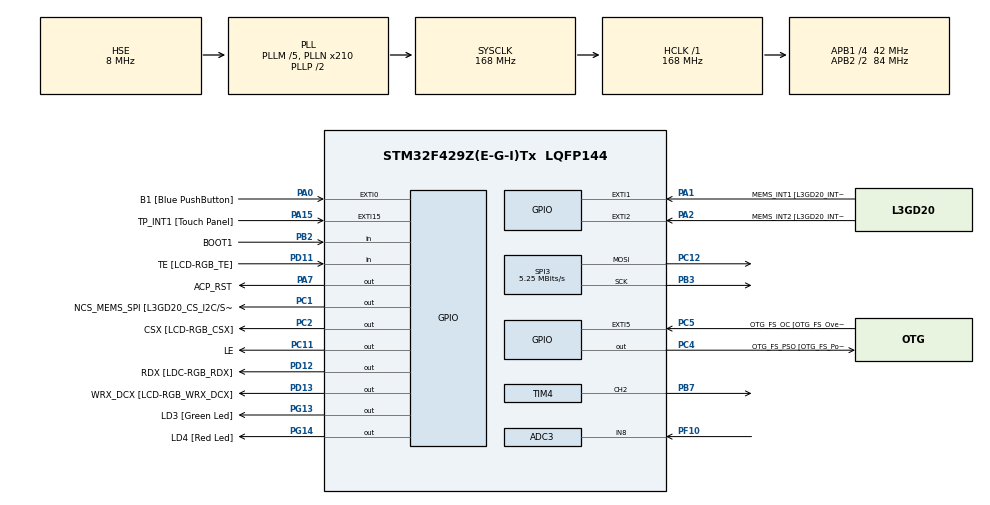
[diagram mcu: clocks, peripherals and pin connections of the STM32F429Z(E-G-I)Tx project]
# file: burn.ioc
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ADC3.Channel-16\#ChannelRegularConversion=ADC_CHANNEL_8
ADC3.ClockPrescaler=ADC_CLOCKPRESCALER_PCLK_DIV8
ADC3.ContinuousConvMode=ENABLE
ADC3.DMAContinuousRequests=ENABLE
ADC3.NbrOfConversionFlag=1
Dma.ADC3.0.Channel=DMA_CHANNEL_2
Dma.ADC3.0.Direction=DMA_PERIPH_TO_MEMORY
Dma.ADC3.0.FIFOMode=DMA_FIFOMODE_ENABLE
Dma.ADC3.0.FIFOThreshold=DMA_FIFO_THRESHOLD_HALFFULL
Dma.ADC3.0.Instance=DMA2_Stream0
Dma.ADC3.0.MemBurst=DMA_MBURST_SINGLE
Dma.ADC3.0.MemDataAlignment=DMA_MDATAALIGN_WORD
Dma.ADC3.0.MemInc=DMA_MINC_ENABLE
Dma.ADC3.0.Mode=DMA_CIRCULAR
Dma.ADC3.0.PeriphBurst=DMA_PBURST_SINGLE
Dma.ADC3.0.PeriphDataAlignment=DMA_PDATAALIGN_WORD
Dma.ADC3.0.PeriphInc=DMA_PINC_DISABLE
Dma.ADC3.0.Priority=DMA_PRIORITY_LOW
Dma.Request0=ADC3
Mcu.Family=STM32F4
Mcu.Name=STM32F429Z(E-G-I)Tx
Mcu.Package=LQFP144
NVIC.DMA2_Stream0_IRQn=true\:0\:0\:false
NVIC.PriorityGroup=NVIC_PRIORITYGROUP_0
PA0/WKUP.GPIO_Label=B1 [Blue PushButton]
PA0/WKUP.GPIO_ModeDefaultEXTI=GPIO_MODE_EVT_RISING
PA0/WKUP.GPIO_PuPd=GPIO_NOPULL
PA0/WKUP.Signal=GPXTI0
PA1.GPIO_Label=MEMS_INT1 [L3GD20_INT1]
PA1.GPIO_ModeDefaultEXTI=GPIO_MODE_EVT_RISING
PA1.GPIO_PuPd=GPIO_NOPULL
PA1.Signal=GPXTI1
PA11.GPIO_Label=R4
PA11.GPIO_Mode=GPIO_MODE_AF_PP
PA11.GPIO_PuPd=GPIO_NOPULL
PA11.GPIO_Speed=GPIO_SPEED_LOW
PA11.Signal=LTDC_R4
PA12.GPIO_Label=R5
PA12.GPIO_Mode=GPIO_MODE_AF_PP
PA12.GPIO_PuPd=GPIO_NOPULL
PA12.GPIO_Speed=GPIO_SPEED_LOW
PA12.Signal=LTDC_R5
PA13.GPIO_Label=SWDIO
PA13.Mode=Serial-Wire
PA13.Signal=SYS_JTMS-SWDIO
PA14.GPIO_Label=SWCLK
PA14.Mode=Serial-Wire
PA14.Signal=SYS_JTCK-SWCLK
PA15.GPIO_Label=TP_INT1 [Touch Panel]
PA15.GPIO_ModeDefaultEXTI=GPIO_MODE_EVT_RISING
PA15.GPIO_PuPd=GPIO_NOPULL
PA15.Signal=GPXTI15
PA2.GPIO_Label=MEMS_INT2 [L3GD20_INT2]
PA2.GPIO_ModeDefaultEXTI=GPIO_MODE_EVT_RISING
PA2.GPIO_PuPd=GPIO_NOPULL
PA2.Signal=GPXTI2
PA3.GPIO_Label=B5
PA3.GPIO_Mode=GPIO_MODE_AF_PP
PA3.GPIO_PuPd=GPIO_NOPULL
PA3.GPIO_Speed=GPIO_SPEED_LOW
PA3.Signal=LTDC_B5
PA4.GPIO_Label=VSYNC
PA4.GPIO_Mode=GPIO_MODE_AF_PP
PA4.GPIO_PuPd=GPIO_NOPULL
PA4.GPIO_Speed=GPIO_SPEED_LOW
PA4.Signal=LTDC_VSYNC
PA6.GPIO_Label=G2
PA6.GPIO_Mode=GPIO_MODE_AF_PP
PA6.GPIO_PuPd=GPIO_NOPULL
PA6.GPIO_Speed=GPIO_SPEED_LOW
PA6.Signal=LTDC_G2
PA7.GPIO_Label=ACP_RST
PA7.GPIO_Mode=GPIO_MODE_OUTPUT_PP
PA7.GPIO_ModeDefaultOutputPP=GPIO_MODE_OUTPUT_PP
PA7.GPIO_PuPd=GPIO_NOPULL
PA7.GPIO_Speed=GPIO_SPEED_LOW
PA7.Signal=GPIO_Output
PA8.GPIO_Label=I2C3_SCL [ACP/RF_SCL]
PA8.GPIO_Mode=GPIO_MODE_AF_OD
PA8.GPIO_PuPd=GPIO_NOPULL
PA8.GPIO_PuPdOD=GPIO_PULLUP
PA8.GPIO_Speed=GPIO_SPEED_LOW
PA8.Signal=I2C3_SCL
PB0.GPIO_Label=R3
PB0.GPIO_Mode=GPIO_MODE_AF_PP
PB0.GPIO_PuPd=GPIO_NOPULL
PB0.GPIO_Speed=GPIO_SPEED_LOW
PB0.Signal=LTDC_R3
PB1.GPIO_Label=R6
PB1.GPIO_Mode=GPIO_MODE_AF_PP
PB1.GPIO_PuPd=GPIO_NOPULL
PB1.GPIO_Speed=GPIO_SPEED_LOW
PB1.Signal=LTDC_R6
PB10.GPIO_Label=G4
PB10.GPIO_Mode=GPIO_MODE_AF_PP
PB10.GPIO_PuPd=GPIO_NOPULL
PB10.GPIO_Speed=GPIO_SPEED_LOW
PB10.Signal=LTDC_G4
PB11.GPIO_Label=G5
PB11.GPIO_Mode=GPIO_MODE_AF_PP
PB11.GPIO_PuPd=GPIO_NOPULL
PB11.GPIO_Speed=GPIO_SPEED_LOW
PB11.Signal=LTDC_G5
PB12.GPIO_Label=OTG_FS_ID
PB12.GPIO_Mode=GPIO_MODE_AF_PP
PB12.GPIO_PuPd=GPIO_NOPULL
PB12.GPIO_Speed=GPIO_SPEED_LOW
PB12.Signal=USB_OTG_HS_ID
PB13.GPIO_Label=VBUS_FS
PB13.GPIO_Mode=GPIO_MODE_INPUT
PB13.GPIO_PuPd=GPIO_NOPULL
PB13.Signal=USB_OTG_HS_VBUS
PB14.GPIO_Label=OTG_FS_DM
PB14.GPIO_Mode=GPIO_MODE_AF_PP
PB14.GPIO_PuPd=GPIO_NOPULL
PB14.GPIO_Speed=GPIO_SPEED_LOW
PB14.Signal=USB_OTG_HS_DM
PB15.GPIO_Label=OTG_FS_DP
PB15.GPIO_Mode=GPIO_MODE_AF_PP
PB15.GPIO_PuPd=GPIO_NOPULL
PB15.GPIO_Speed=GPIO_SPEED_LOW
PB15.Signal=USB_OTG_HS_DP
PB2/BOOT1.GPIO_Label=BOOT1
PB2/BOOT1.GPIO_Mode=GPIO_MODE_INPUT
PB2/BOOT1.GPIO_PuPd=GPIO_NOPULL
PB2/BOOT1.Signal=GPIO_Input
PB3.Mode=TX_Only_Simplex_Unidirect_Master
PB3.Signal=SPI3_SCK
PB5.GPIO_Label=SDCKE1
PB5.GPIO_Mode=GPIO_MODE_AF_PP
PB5.GPIO_PuPd=GPIO_NOPULL
PB5.GPIO_Speed=GPIO_SPEED_HIGH
PB5.GPIO_Speed_High_Default=GPIO_SPEED_HIGH
PB5.Signal=FMC_SDCKE1
PB6.GPIO_Label=SDNE1 [SDRAM_CS]
PB6.GPIO_Mode=GPIO_MODE_AF_PP
PB6.GPIO_PuPd=GPIO_NOPULL
PB6.GPIO_Speed=GPIO_SPEED_HIGH
PB6.GPIO_Speed_High_Default=GPIO_SPEED_HIGH
PB6.Signal=FMC_SDNE1
PB7.Signal=S_TIM4_CH2
PB8.GPIO_Label=B6
PB8.GPIO_Mode=GPIO_MODE_AF_PP
PB8.GPIO_PuPd=GPIO_NOPULL
PB8.GPIO_Speed=GPIO_SPEED_LOW
PB8.Signal=LTDC_B6
PB9.GPIO_Label=B7
PB9.GPIO_Mode=GPIO_MODE_AF_PP
PB9.GPIO_PuPd=GPIO_NOPULL
PB9.GPIO_Speed=GPIO_SPEED_LOW
PB9.Signal=LTDC_B7
PC0.GPIO_Label=SDNWE
PC0.GPIO_Mode=GPIO_MODE_AF_PP
PC0.GPIO_PuPd=GPIO_NOPULL
PC0.GPIO_Speed=GPIO_SPEED_HIGH
PC0.GPIO_Speed_High_Default=GPIO_SPEED_HIGH
PC0.Signal=FMC_SDNWE
PC1.GPIO_Label=NCS_MEMS_SPI [L3GD20_CS_I2C/SPI]
PC1.GPIO_Mode=GPIO_MODE_OUTPUT_PP
PC1.GPIO_ModeDefaultOutputPP=GPIO_MODE_OUTPUT_PP
PC1.GPIO_PuPd=GPIO_NOPULL
PC1.GPIO_Speed=GPIO_SPEED_LOW
PC1.Signal=GPIO_Output
PC10.GPIO_Label=R2
PC10.GPIO_Mode=GPIO_MODE_AF_PP
PC10.GPIO_PuPd=GPIO_NOPULL
PC10.GPIO_Speed=GPIO_SPEED_LOW
PC10.Signal=LTDC_R2
PC11.GPIO_Label=LE
PC11.GPIO_ModeDefaultOutputPP=GPIO_MODE_OUTPUT_PP
PC11.GPIO_PuPd=GPIO_NOPULL
PC11.GPIO_Speed=GPIO_SPEED_LOW
PC11.Signal=GPIO_Output
PC12.Mode=TX_Only_Simplex_Unidirect_Master
PC12.Signal=SPI3_MOSI
PC14/OSC32_IN.GPIO_Label=PC14-OSC32_IN
PC14/OSC32_IN.Signal=RCC_OSC32_IN
PC15/OSC32_OUT.GPIO_Label=PC15-OSC32_OUT
PC15/OSC32_OUT.Signal=RCC_OSC32_OUT
PC2.GPIO_Label=CSX [LCD-RGB_CSX]
PC2.GPIO_Mode=GPIO_MODE_OUTPUT_PP
PC2.GPIO_ModeDefaultOutputPP=GPIO_MODE_OUTPUT_PP
PC2.GPIO_PuPd=GPIO_NOPULL
PC2.GPIO_Speed=GPIO_SPEED_LOW
PC2.Signal=GPIO_Output
PC4.GPIO_Label=OTG_FS_PSO [OTG_FS_PowerSwitchOn]
PC4.GPIO_Mode=GPIO_MODE_OUTPUT_PP
PC4.GPIO_ModeDefaultOutputPP=GPIO_MODE_OUTPUT_PP
PC4.GPIO_PuPd=GPIO_NOPULL
PC4.GPIO_Speed=GPIO_SPEED_LOW
PC4.Signal=GPIO_Output
PC5.GPIO_Label=OTG_FS_OC [OTG_FS_OverCurrent]
PC5.GPIO_ModeDefaultEXTI=GPIO_MODE_EVT_RISING
PC5.GPIO_PuPd=GPIO_NOPULL
PC5.Signal=GPXTI5
PC6.GPIO_Label=HSYNC
PC6.GPIO_Mode=GPIO_MODE_AF_PP
PC6.GPIO_PuPd=GPIO_NOPULL
PC6.GPIO_Speed=GPIO_SPEED_LOW
PC6.Signal=LTDC_HSYNC
PC7.GPIO_Label=G6
PC7.GPIO_Mode=GPIO_MODE_AF_PP
PC7.GPIO_PuPd=GPIO_NOPULL
PC7.GPIO_Speed=GPIO_SPEED_LOW
PC7.Signal=LTDC_G6
PC9.GPIO_Label=I2C3_SDA [ACP/RF_SDA]
PC9.GPIO_Mode=GPIO_MODE_AF_OD
PC9.GPIO_PuPd=GPIO_NOPULL
PC9.GPIO_PuPdOD=GPIO_PULLUP
PC9.GPIO_Speed=GPIO_SPEED_LOW
PC9.Signal=I2C3_SDA
PD0.GPIO_Label=D2
PD0.GPIO_Mode=GPIO_MODE_AF_PP
PD0.GPIO_PuPd=GPIO_NOPULL
PD0.GPIO_Speed=GPIO_SPEED_HIGH
PD0.GPIO_Speed_High_Default=GPIO_SPEED_HIGH
PD0.Signal=FMC_D2_DA2
PD1.GPIO_Label=D3
PD1.GPIO_Mode=GPIO_MODE_AF_PP
PD1.GPIO_PuPd=GPIO_NOPULL
PD1.GPIO_Speed=GPIO_SPEED_HIGH
PD1.GPIO_Speed_High_Default=GPIO_SPEED_HIGH
PD1.Signal=FMC_D3_DA3
PD10.GPIO_Label=D15
PD10.GPIO_Mode=GPIO_MODE_AF_PP
PD10.GPIO_PuPd=GPIO_NOPULL
PD10.GPIO_Speed=GPIO_SPEED_HIGH
PD10.GPIO_Speed_High_Default=GPIO_SPEED_HIGH
PD10.Signal=FMC_D15_DA15
PD11.GPIO_Label=TE [LCD-RGB_TE]
PD11.GPIO_Mode=GPIO_MODE_INPUT
PD11.GPIO_PuPd=GPIO_NOPULL
PD11.Signal=GPIO_Input
PD12.GPIO_Label=RDX [LDC-RGB_RDX]
PD12.GPIO_Mode=GPIO_MODE_OUTPUT_PP
PD12.GPIO_ModeDefaultOutputPP=GPIO_MODE_OUTPUT_PP
PD12.GPIO_PuPd=GPIO_NOPULL
PD12.GPIO_Speed=GPIO_SPEED_LOW
PD12.Signal=GPIO_Output
PD13.GPIO_Label=WRX_DCX [LCD-RGB_WRX_DCX]
PD13.GPIO_Mode=GPIO_MODE_OUTPUT_PP
PD13.GPIO_ModeDefaultOutputPP=GPIO_MODE_OUTPUT_PP
PD13.GPIO_PuPd=GPIO_NOPULL
PD13.GPIO_Speed=GPIO_SPEED_LOW
PD13.Signal=GPIO_Output
PD14.GPIO_Label=D0
PD14.GPIO_Mode=GPIO_MODE_AF_PP
PD14.GPIO_PuPd=GPIO_NOPULL
PD14.GPIO_Speed=GPIO_SPEED_HIGH
PD14.GPIO_Speed_High_Default=GPIO_SPEED_HIGH
PD14.Signal=FMC_D0_DA0
PD15.GPIO_Label=D1
PD15.GPIO_Mode=GPIO_MODE_AF_PP
PD15.GPIO_PuPd=GPIO_NOPULL
PD15.GPIO_Speed=GPIO_SPEED_HIGH
PD15.GPIO_Speed_High_Default=GPIO_SPEED_HIGH
PD15.Signal=FMC_D1_DA1
PD3.GPIO_Label=G7
PD3.GPIO_Mode=GPIO_MODE_AF_PP
PD3.GPIO_PuPd=GPIO_NOPULL
PD3.GPIO_Speed=GPIO_SPEED_LOW
PD3.Signal=LTDC_G7
PD6.GPIO_Label=B2
PD6.GPIO_Mode=GPIO_MODE_AF_PP
PD6.GPIO_PuPd=GPIO_NOPULL
PD6.GPIO_Speed=GPIO_SPEED_LOW
PD6.Signal=LTDC_B2
PD8.GPIO_Label=D13
PD8.GPIO_Mode=GPIO_MODE_AF_PP
PD8.GPIO_PuPd=GPIO_NOPULL
PD8.GPIO_Speed=GPIO_SPEED_HIGH
PD8.GPIO_Speed_High_Default=GPIO_SPEED_HIGH
PD8.Signal=FMC_D13_DA13
PD9.GPIO_Label=D14
PD9.GPIO_Mode=GPIO_MODE_AF_PP
PD9.GPIO_PuPd=GPIO_NOPULL
PD9.GPIO_Speed=GPIO_SPEED_HIGH
PD9.GPIO_Speed_High_Default=GPIO_SPEED_HIGH
PD9.Signal=FMC_D14_DA14
PE0.GPIO_Label=NBL0 [SDRAM_LDQM]
PE0.GPIO_Mode=GPIO_MODE_AF_PP
PE0.GPIO_PuPd=GPIO_NOPULL
PE0.GPIO_Speed=GPIO_SPEED_HIGH
PE0.GPIO_Speed_High_Default=GPIO_SPEED_HIGH
PE0.Signal=FMC_NBL0
PE1.GPIO_Label=NBL1 [SDRAM_UDQM]
PE1.GPIO_Mode=GPIO_MODE_AF_PP
PE1.GPIO_PuPd=GPIO_NOPULL
PE1.GPIO_Speed=GPIO_SPEED_HIGH
PE1.GPIO_Speed_High_Default=GPIO_SPEED_HIGH
PE1.Signal=FMC_NBL1
PE10.GPIO_Label=D7
PE10.GPIO_Mode=GPIO_MODE_AF_PP
PE10.GPIO_PuPd=GPIO_NOPULL
PE10.GPIO_Speed=GPIO_SPEED_HIGH
PE10.GPIO_Speed_High_Default=GPIO_SPEED_HIGH
PE10.Signal=FMC_D7_DA7
PE11.GPIO_Label=D8
PE11.GPIO_Mode=GPIO_MODE_AF_PP
PE11.GPIO_PuPd=GPIO_NOPULL
PE11.GPIO_Speed=GPIO_SPEED_HIGH
PE11.GPIO_Speed_High_Default=GPIO_SPEED_HIGH
PE11.Signal=FMC_D8_DA8
PE12.GPIO_Label=D9
PE12.GPIO_Mode=GPIO_MODE_AF_PP
PE12.GPIO_PuPd=GPIO_NOPULL
PE12.GPIO_Speed=GPIO_SPEED_HIGH
PE12.GPIO_Speed_High_Default=GPIO_SPEED_HIGH
PE12.Signal=FMC_D9_DA9
PE13.GPIO_Label=D10
PE13.GPIO_Mode=GPIO_MODE_AF_PP
PE13.GPIO_PuPd=GPIO_NOPULL
PE13.GPIO_Speed=GPIO_SPEED_HIGH
PE13.GPIO_Speed_High_Default=GPIO_SPEED_HIGH
PE13.Signal=FMC_D10_DA10
PE14.GPIO_Label=D11
PE14.GPIO_Mode=GPIO_MODE_AF_PP
PE14.GPIO_PuPd=GPIO_NOPULL
PE14.GPIO_Speed=GPIO_SPEED_HIGH
PE14.GPIO_Speed_High_Default=GPIO_SPEED_HIGH
PE14.Signal=FMC_D11_DA11
PE15.GPIO_Label=D12
PE15.GPIO_Mode=GPIO_MODE_AF_PP
PE15.GPIO_PuPd=GPIO_NOPULL
PE15.GPIO_Speed=GPIO_SPEED_HIGH
PE15.GPIO_Speed_High_Default=GPIO_SPEED_HIGH
PE15.Signal=FMC_D12_DA12
PE7.GPIO_Label=D4
PE7.GPIO_Mode=GPIO_MODE_AF_PP
PE7.GPIO_PuPd=GPIO_NOPULL
PE7.GPIO_Speed=GPIO_SPEED_HIGH
PE7.GPIO_Speed_High_Default=GPIO_SPEED_HIGH
PE7.Signal=FMC_D4_DA4
PE8.GPIO_Label=D5
PE8.GPIO_Mode=GPIO_MODE_AF_PP
PE8.GPIO_PuPd=GPIO_NOPULL
PE8.GPIO_Speed=GPIO_SPEED_HIGH
PE8.GPIO_Speed_High_Default=GPIO_SPEED_HIGH
PE8.Signal=FMC_D5_DA5
PE9.GPIO_Label=D6
PE9.GPIO_Mode=GPIO_MODE_AF_PP
PE9.GPIO_PuPd=GPIO_NOPULL
PE9.GPIO_Speed=GPIO_SPEED_HIGH
PE9.GPIO_Speed_High_Default=GPIO_SPEED_HIGH
PE9.Signal=FMC_D6_DA6
PF0.GPIO_Label=A0
PF0.GPIO_Mode=GPIO_MODE_AF_PP
PF0.GPIO_PuPd=GPIO_NOPULL
PF0.GPIO_Speed=GPIO_SPEED_HIGH
PF0.GPIO_Speed_High_Default=GPIO_SPEED_HIGH
PF0.Signal=FMC_A0
PF1.GPIO_Label=A1
PF1.GPIO_Mode=GPIO_MODE_AF_PP
PF1.GPIO_PuPd=GPIO_NOPULL
PF1.GPIO_Speed=GPIO_SPEED_HIGH
PF1.GPIO_Speed_High_Default=GPIO_SPEED_HIGH
PF1.Signal=FMC_A1
PF10.Mode=IN8
PF10.Signal=ADC3_IN8
PF11.GPIO_Label=SDNRAS
PF11.GPIO_Mode=GPIO_MODE_AF_PP
PF11.GPIO_PuPd=GPIO_NOPULL
PF11.GPIO_Speed=GPIO_SPEED_HIGH
PF11.GPIO_Speed_High_Default=GPIO_SPEED_HIGH
PF11.Signal=FMC_SDNRAS
PF12.GPIO_Label=A6
PF12.GPIO_Mode=GPIO_MODE_AF_PP
PF12.GPIO_PuPd=GPIO_NOPULL
PF12.GPIO_Speed=GPIO_SPEED_HIGH
PF12.GPIO_Speed_High_Default=GPIO_SPEED_HIGH
PF12.Signal=FMC_A6
PF13.GPIO_Label=A7
PF13.GPIO_Mode=GPIO_MODE_AF_PP
PF13.GPIO_PuPd=GPIO_NOPULL
PF13.GPIO_Speed=GPIO_SPEED_HIGH
PF13.GPIO_Speed_High_Default=GPIO_SPEED_HIGH
PF13.Signal=FMC_A7
PF14.GPIO_Label=A8
PF14.GPIO_Mode=GPIO_MODE_AF_PP
PF14.GPIO_PuPd=GPIO_NOPULL
PF14.GPIO_Speed=GPIO_SPEED_HIGH
PF14.GPIO_Speed_High_Default=GPIO_SPEED_HIGH
PF14.Signal=FMC_A8
PF15.GPIO_Label=A9
PF15.GPIO_Mode=GPIO_MODE_AF_PP
PF15.GPIO_PuPd=GPIO_NOPULL
PF15.GPIO_Speed=GPIO_SPEED_HIGH
PF15.GPIO_Speed_High_Default=GPIO_SPEED_HIGH
PF15.Signal=FMC_A9
PF2.GPIO_Label=A2
PF2.GPIO_Mode=GPIO_MODE_AF_PP
PF2.GPIO_PuPd=GPIO_NOPULL
PF2.GPIO_Speed=GPIO_SPEED_HIGH
PF2.GPIO_Speed_High_Default=GPIO_SPEED_HIGH
PF2.Signal=FMC_A2
PF3.GPIO_Label=A3
PF3.GPIO_Mode=GPIO_MODE_AF_PP
PF3.GPIO_PuPd=GPIO_NOPULL
PF3.GPIO_Speed=GPIO_SPEED_HIGH
PF3.GPIO_Speed_High_Default=GPIO_SPEED_HIGH
PF3.Signal=FMC_A3
PF4.GPIO_Label=A4
PF4.GPIO_Mode=GPIO_MODE_AF_PP
PF4.GPIO_PuPd=GPIO_NOPULL
PF4.GPIO_Speed=GPIO_SPEED_HIGH
PF4.GPIO_Speed_High_Default=GPIO_SPEED_HIGH
PF4.Signal=FMC_A4
PF5.GPIO_Label=A5
PF5.GPIO_Mode=GPIO_MODE_AF_PP
PF5.GPIO_PuPd=GPIO_NOPULL
PF5.GPIO_Speed=GPIO_SPEED_HIGH
PF5.GPIO_Speed_High_Default=GPIO_SPEED_HIGH
PF5.Signal=FMC_A5
PF7.GPIO_Label=SPI5_SCK [L3GD20_SCL/SPC]
PF7.GPIO_Mode=GPIO_MODE_AF_PP
PF7.GPIO_PuPd=GPIO_NOPULL
PF7.GPIO_Speed=GPIO_SPEED_LOW
PF7.Signal=SPI5_SCK
PF8.GPIO_Label=SPI5_MISO [L3GD20_SDO]
PF8.GPIO_Mode=GPIO_MODE_AF_PP
PF8.GPIO_PuPd=GPIO_NOPULL
PF8.GPIO_Speed=GPIO_SPEED_LOW
PF8.Signal=SPI5_MISO
PF9.GPIO_Label=SPI5_MOSI [L3GD20_SDA/SDI/SDO]
PF9.GPIO_Mode=GPIO_MODE_AF_PP
PF9.GPIO_PuPd=GPIO_NOPULL
PF9.GPIO_Speed=GPIO_SPEED_LOW
PF9.Signal=SPI5_MOSI
PG0.GPIO_Label=A10
PG0.GPIO_Mode=GPIO_MODE_AF_PP
PG0.GPIO_PuPd=GPIO_NOPULL
PG0.GPIO_Speed=GPIO_SPEED_HIGH
PG0.GPIO_Speed_High_Default=GPIO_SPEED_HIGH
PG0.Signal=FMC_A10
PG1.GPIO_Label=A11
PG1.GPIO_Mode=GPIO_MODE_AF_PP
PG1.GPIO_PuPd=GPIO_NOPULL
PG1.GPIO_Speed=GPIO_SPEED_HIGH
PG1.GPIO_Speed_High_Default=GPIO_SPEED_HIGH
PG1.Signal=FMC_A11
PG10.GPIO_Label=G3
PG10.GPIO_Mode=GPIO_MODE_AF_PP
PG10.GPIO_PuPd=GPIO_NOPULL
PG10.GPIO_Speed=GPIO_SPEED_LOW
PG10.Signal=LTDC_G3
PG11.GPIO_Label=B3
PG11.GPIO_Mode=GPIO_MODE_AF_PP
PG11.GPIO_PuPd=GPIO_NOPULL
PG11.GPIO_Speed=GPIO_SPEED_LOW
PG11.Signal=LTDC_B3
PG12.GPIO_Label=B4
PG12.GPIO_Mode=GPIO_MODE_AF_PP
PG12.GPIO_PuPd=GPIO_NOPULL
PG12.GPIO_Speed=GPIO_SPEED_LOW
PG12.Signal=LTDC_B4
PG13.GPIO_Label=LD3 [Green Led]
PG13.GPIO_Mode=GPIO_MODE_OUTPUT_PP
PG13.GPIO_ModeDefaultOutputPP=GPIO_MODE_OUTPUT_PP
PG13.GPIO_PuPd=GPIO_NOPULL
PG13.GPIO_Speed=GPIO_SPEED_LOW
PG13.Signal=GPIO_Output
PG14.GPIO_Label=LD4 [Red Led]
PG14.GPIO_Mode=GPIO_MODE_OUTPUT_PP
PG14.GPIO_ModeDefaultOutputPP=GPIO_MODE_OUTPUT_PP
PG14.GPIO_PuPd=GPIO_NOPULL
PG14.GPIO_Speed=GPIO_SPEED_LOW
PG14.Signal=GPIO_Output
PG15.GPIO_Label=SDNCAS
PG15.GPIO_Mode=GPIO_MODE_AF_PP
PG15.GPIO_PuPd=GPIO_NOPULL
PG15.GPIO_Speed=GPIO_SPEED_HIGH
PG15.GPIO_Speed_High_Default=GPIO_SPEED_HIGH
PG15.Signal=FMC_SDNCAS
PG4.GPIO_Label=BA0
PG4.GPIO_Mode=GPIO_MODE_AF_PP
PG4.GPIO_PuPd=GPIO_NOPULL
PG4.GPIO_Speed=GPIO_SPEED_HIGH
PG4.GPIO_Speed_High_Default=GPIO_SPEED_HIGH
PG4.Signal=FMC_A14_BA0
PG5.GPIO_Label=BA1
PG5.GPIO_Mode=GPIO_MODE_AF_PP
PG5.GPIO_PuPd=GPIO_NOPULL
PG5.GPIO_Speed=GPIO_SPEED_HIGH
PG5.GPIO_Speed_High_Default=GPIO_SPEED_HIGH
PG5.Signal=FMC_A15_BA1
PG6.GPIO_Label=R7
PG6.GPIO_Mode=GPIO_MODE_AF_PP
PG6.GPIO_PuPd=GPIO_NOPULL
PG6.GPIO_Speed=GPIO_SPEED_LOW
PG6.Signal=LTDC_R7
PG7.GPIO_Label=DOTCLK [LCT-RGB_DOTCLK]
PG7.GPIO_Mode=GPIO_MODE_AF_PP
PG7.GPIO_PuPd=GPIO_NOPULL
PG7.GPIO_Speed=GPIO_SPEED_LOW
PG7.Signal=LTDC_CLK
PG8.GPIO_Label=SDCLK
PG8.GPIO_Mode=GPIO_MODE_AF_PP
PG8.GPIO_PuPd=GPIO_NOPULL
PG8.GPIO_Speed=GPIO_SPEED_HIGH
PG8.GPIO_Speed_High_Default=GPIO_SPEED_HIGH
PG8.Signal=FMC_SDCLK
PH0/OSC_IN.GPIO_Label=PH0-OSC_IN
PH0/OSC_IN.Mode=HSE-External-Oscillator
PH0/OSC_IN.Signal=RCC_OSC_IN
PH1/OSC_OUT.GPIO_Label=PH1-OSC_OUT
PH1/OSC_OUT.Mode=HSE-External-Oscillator
PH1/OSC_OUT.Signal=RCC_OSC_OUT
ProjectManager.TargetToolchain=MDK-ARM V5
RCC.48MHZClocksFreq_Value=48000000
RCC.AHBFreq_Value=168000000
RCC.APB1CLKDivider=RCC_HCLK_DIV4
RCC.APB1Freq_Value=42000000
RCC.APB1TimFreq_Value=84000000
RCC.APB2CLKDivider=RCC_HCLK_DIV2
RCC.APB2Freq_Value=84000000
RCC.APB2TimFreq_Value=168000000
RCC.CortexFreq_Value=168000000
RCC.HCLKFreq_Value=168000000
RCC.HSE_VALUE=8000000
RCC.HSI_VALUE=16000000
RCC.LSE_VALUE=32768
RCC.PLLM=5
RCC.PLLN=210
RCC.PLLQ=7
RCC.PLLSourceVirtual=RCC_PLLSOURCE_HSE
RCC.SYSCLKFreq_VALUE=168000000
RCC.SYSCLKSource=RCC_SYSCLKSOURCE_PLLCLK
RCC.VCOOutputFreq_Value=336000000
SH.FMC_A0.0=FMC_A0
SH.FMC_A1.0=FMC_A1
SH.FMC_A10.0=FMC_A10
SH.FMC_A11.0=FMC_A11
SH.FMC_A14_BA0.0=FMC_BA0
SH.FMC_A15_BA1.0=FMC_BA1
SH.FMC_A2.0=FMC_A2
SH.FMC_A3.0=FMC_A3
SH.FMC_A4.0=FMC_A4
SH.FMC_A5.0=FMC_A5
SH.FMC_A6.0=FMC_A6
SH.FMC_A7.0=FMC_A7
SH.FMC_A8.0=FMC_A8
SH.FMC_A9.0=FMC_A9
SH.FMC_D0_DA0.0=FMC_D0
SH.FMC_D10_DA10.0=FMC_D10
SH.FMC_D11_DA11.0=FMC_D11
SH.FMC_D12_DA12.0=FMC_D12
SH.FMC_D13_DA13.0=FMC_D13
SH.FMC_D14_DA14.0=FMC_D14
SH.FMC_D15_DA15.0=FMC_D15
SH.FMC_D1_DA1.0=FMC_D1
SH.FMC_D2_DA2.0=FMC_D2
SH.FMC_D3_DA3.0=FMC_D3
SH.FMC_D4_DA4.0=FMC_D4
SH.FMC_D5_DA5.0=FMC_D5
SH.FMC_D6_DA6.0=FMC_D6
SH.FMC_D7_DA7.0=FMC_D7
SH.FMC_D8_DA8.0=FMC_D8
SH.FMC_D9_DA9.0=FMC_D9
SH.FMC_NBL0.0=FMC_NBL0
SH.FMC_NBL1.0=FMC_NBL1
SH.FMC_SDCLK.0=FMC_SDCLK
SH.FMC_SDNCAS.0=FMC_SDNCAS
SH.FMC_SDNRAS.0=FMC_SDNRAS
SH.FMC_SDNWE.0=FMC_SDNWE
SH.S_TIM4_CH2.0=TIM4_CH2,PWM Generation2 CH2
SPI3.BaudRatePrescaler=SPI_BAUDRATEPRESCALER_8
SPI3.CalculateBaudRate=5.25 MBits/s
SPI3.DataSize=SPI_DATASIZE_16BIT
SPI3.Mode=SPI_MODE_MASTER
TIM4.Channel-PWM\ Generation2\ CH2=TIM_CHANNEL_2
TIM4.OCFastMode_PWM-PWM\ Generation2\ CH2=TIM_OCFAST_ENABLE
TIM4.Period=5555
TIM4.Pulse-PWM\ Generation2\ CH2=1388
TIM4.TIM_MasterSlaveMode=TIM_MASTERSLAVEMODE_DISABLE
board=STM32F429I-DISCO

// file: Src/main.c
/**
  ******************************************************************************
  * File Name          : main.c
  * Description        : Main program body
  ******************************************************************************
  *
  * COPYRIGHT(c) 2015 STMicroelectronics
  *
  * Redistribution and use in source and binary forms, with or without modification,
  * are permitted provided that the following conditions are met:
  *   1. Redistributions of source code must retain the above copyright notice,
  *      this list of conditions and the following disclaimer.
  *   2. Redistributions in binary form must reproduce the above copyright notice,
  *      this list of conditions and the following disclaimer in the documentation
  *      and/or other materials provided with the distribution.
  *   3. Neither the name of STMicroelectronics nor the names of its contributors
  *      may be used to endorse or promote products derived from this software
  *      without specific prior written permission.
  *
  * THIS SOFTWARE IS PROVIDED BY THE COPYRIGHT HOLDERS AND CONTRIBUTORS "AS IS"
  * AND ANY EXPRESS OR IMPLIED WARRANTIES, INCLUDING, BUT NOT LIMITED TO, THE
  * IMPLIED WARRANTIES OF MERCHANTABILITY AND FITNESS FOR A PARTICULAR PURPOSE ARE
  * DISCLAIMED. IN NO EVENT SHALL THE COPYRIGHT HOLDER OR CONTRIBUTORS BE LIABLE
  * FOR ANY DIRECT, INDIRECT, INCIDENTAL, SPECIAL, EXEMPLARY, OR CONSEQUENTIAL
  * DAMAGES (INCLUDING, BUT NOT LIMITED TO, PROCUREMENT OF SUBSTITUTE GOODS OR
  * SERVICES; LOSS OF USE, DATA, OR PROFITS; OR BUSINESS INTERRUPTION) HOWEVER
  * CAUSED AND ON ANY THEORY OF LIABILITY, WHETHER IN CONTRACT, STRICT LIABILITY,
  * OR TORT (INCLUDING NEGLIGENCE OR OTHERWISE) ARISING IN ANY WAY OUT OF THE USE
  * OF THIS SOFTWARE, EVEN IF ADVISED OF THE POSSIBILITY OF SUCH DAMAGE.
  *
  ******************************************************************************
  */
#include "stm32f4xx_hal.h"

ADC_HandleTypeDef hadc3;
DMA_HandleTypeDef hdma_adc3;

SPI_HandleTypeDef hspi3;

TIM_HandleTypeDef htim4;

/* USER CODE BEGIN PV */
#define TIM_Period 5555 /* for 10KHz PWM frequency. See : http://stm32f4-discovery.com/2014/05/stm32f4-stm32f429-discovery-pwm-tutorial/ */
#define INI_PULSE_LENGTH 1388 /* (((TIM_Period + 1) * DutyCycle / 100 - 1  ) Start with a 25% duty cycle*/
#define MAX_ADC_VAL 0x0FFF
__IO uint32_t adc_dma_val = 0;
/* USER CODE END PV */

void SystemClock_Config(void);
static void MX_GPIO_Init(void);
static void MX_DMA_Init(void);
static void MX_ADC3_Init(void);
static void MX_SPI3_Init(void);
static void MX_TIM4_Init(void);

/* USER CODE BEGIN PFP */
static int32_t map(int32_t x, int32_t in_min, int32_t in_max, int32_t out_min, int32_t out_max);
/* USER CODE END PFP */

/* USER CODE BEGIN 0 */

void LE()
{
	HAL_GPIO_WritePin(GPIOC, GPIO_PIN_11, GPIO_PIN_SET);
	HAL_GPIO_WritePin(GPIOC, GPIO_PIN_11, GPIO_PIN_RESET);
}

/* USER CODE END 0 */

int main(void)
{

  /* MCU Configuration----------------------------------------------------------*/

  /* Reset of all peripherals, Initializes the Flash interface and the Systick. */
  HAL_Init();

  /* Configure the system clock */
  SystemClock_Config();

  /* Initialize all configured peripherals */
  MX_GPIO_Init();
  MX_DMA_Init();
  MX_ADC3_Init();
  MX_SPI3_Init();
  MX_TIM4_Init();

  /* USER CODE BEGIN 2 */
	HAL_GPIO_WritePin(GPIOC, GPIO_PIN_11, GPIO_PIN_RESET);

	/*if (HAL_ADC_Start_DMA(&hadc3, (uint32_t*)&adc_dma_val, 1) != HAL_OK)
	{
		HAL_GPIO_WritePin(GPIOG, GPIO_PIN_14, GPIO_PIN_SET);
	}*/
	if (HAL_TIM_PWM_Start(&htim4, TIM_CHANNEL_2) != HAL_OK)
	{
		HAL_GPIO_WritePin(GPIOG, GPIO_PIN_14, GPIO_PIN_SET);
	}

	TIM_OC_InitTypeDef sConfigOC;
	uint32_t p = 1799;
	uint32_t conval, prescale;

  /* USER CODE END 2 */

  /* Infinite loop */
  while (1)
  {

  /* USER CODE BEGIN 3 */

		uint16_t reset = 0x0000;
		uint16_t data[2] = {0x001F, 0x0001};
		HAL_SPI_Transmit(&hspi3, (uint8_t*)data, 2, 1000);
		LE();
		HAL_SPI_Transmit(&hspi3, (uint8_t*)&reset, 1, 1000);
		LE();
		//HAL_Delay(2);
		data[0] = 0x01E0;
		data[1] = 0x0002;
		HAL_SPI_Transmit(&hspi3, (uint8_t*)data, 2, 1000);
		LE();
		HAL_SPI_Transmit(&hspi3, (uint8_t*)&reset, 1, 1000);
		LE();
		//HAL_Delay(2);

			HAL_ADC_Start(&hadc3);
		HAL_ADC_PollForConversion(&hadc3, 1000);
		conval = HAL_ADC_GetValue(&hadc3);
		HAL_ADC_Stop(&hadc3);
 		prescale = map(conval, 0, 0x0FFF, 0, 100);
		if (HAL_TIM_PWM_Stop(&htim4, TIM_CHANNEL_2)!= HAL_OK)
		{
			HAL_GPIO_WritePin(GPIOG, GPIO_PIN_14, GPIO_PIN_SET);
		}
		sConfigOC.OCMode = TIM_OCMODE_PWM1;
		sConfigOC.Pulse = p;
		sConfigOC.OCPolarity = TIM_OCPOLARITY_HIGH;
		sConfigOC.OCFastMode = TIM_OCFAST_DISABLE;
		if (HAL_TIM_PWM_ConfigChannel(&htim4, &sConfigOC, TIM_CHANNEL_2)!= HAL_OK)
		{
			HAL_GPIO_WritePin(GPIOG, GPIO_PIN_14, GPIO_PIN_SET);
		}
		if (HAL_TIM_PWM_Start(&htim4, TIM_CHANNEL_2)!= HAL_OK)
		{
			HAL_GPIO_WritePin(GPIOG, GPIO_PIN_14, GPIO_PIN_SET);
		}
		p = prescale?((7199 + 1) * prescale) / 100 - 1 : 0;

	}
  /* USER CODE END 3 */

}

/** System Clock Configuration
*/
void SystemClock_Config(void)
{

  RCC_OscInitTypeDef RCC_OscInitStruct;
  RCC_ClkInitTypeDef RCC_ClkInitStruct;

  __PWR_CLK_ENABLE();

  __HAL_PWR_VOLTAGESCALING_CONFIG(PWR_REGULATOR_VOLTAGE_SCALE1);

  RCC_OscInitStruct.OscillatorType = RCC_OSCILLATORTYPE_HSE;
  RCC_OscInitStruct.HSEState = RCC_HSE_ON;
  RCC_OscInitStruct.PLL.PLLState = RCC_PLL_ON;
  RCC_OscInitStruct.PLL.PLLSource = RCC_PLLSOURCE_HSE;
  RCC_OscInitStruct.PLL.PLLM = 5;
  RCC_OscInitStruct.PLL.PLLN = 210;
  RCC_OscInitStruct.PLL.PLLP = RCC_PLLP_DIV2;
  RCC_OscInitStruct.PLL.PLLQ = 7;
  HAL_RCC_OscConfig(&RCC_OscInitStruct);

  RCC_ClkInitStruct.ClockType = RCC_CLOCKTYPE_SYSCLK|RCC_CLOCKTYPE_PCLK1
                              |RCC_CLOCKTYPE_PCLK2;
  RCC_ClkInitStruct.SYSCLKSource = RCC_SYSCLKSOURCE_PLLCLK;
  RCC_ClkInitStruct.AHBCLKDivider = RCC_SYSCLK_DIV1;
  RCC_ClkInitStruct.APB1CLKDivider = RCC_HCLK_DIV4;
  RCC_ClkInitStruct.APB2CLKDivider = RCC_HCLK_DIV2;
  HAL_RCC_ClockConfig(&RCC_ClkInitStruct, FLASH_LATENCY_5);

  HAL_SYSTICK_Config(HAL_RCC_GetHCLKFreq()/1000);

  HAL_SYSTICK_CLKSourceConfig(SYSTICK_CLKSOURCE_HCLK);

}

/* ADC3 init function */
void MX_ADC3_Init(void)
{

  ADC_ChannelConfTypeDef sConfig;

    /**Configure the global features of the ADC (Clock, Resolution, Data Alignment and number of conversion)
    */
  hadc3.Instance = ADC3;
  hadc3.Init.ClockPrescaler = ADC_CLOCKPRESCALER_PCLK_DIV8;
  hadc3.Init.Resolution = ADC_RESOLUTION12b;
  hadc3.Init.ScanConvMode = DISABLE;
  hadc3.Init.ContinuousConvMode = ENABLE;
  hadc3.Init.DiscontinuousConvMode = DISABLE;
  hadc3.Init.ExternalTrigConvEdge = ADC_EXTERNALTRIGCONVEDGE_NONE;
  hadc3.Init.DataAlign = ADC_DATAALIGN_RIGHT;
  hadc3.Init.NbrOfConversion = 1;
  hadc3.Init.DMAContinuousRequests = ENABLE;
  hadc3.Init.EOCSelection = EOC_SINGLE_CONV;
  HAL_ADC_Init(&hadc3);

    /**Configure for the selected ADC regular channel its corresponding rank in the sequencer and its sample time.
    */
  sConfig.Channel = ADC_CHANNEL_8;
  sConfig.Rank = 1;
  sConfig.SamplingTime = ADC_SAMPLETIME_3CYCLES;
  HAL_ADC_ConfigChannel(&hadc3, &sConfig);

}

/* SPI3 init function */
void MX_SPI3_Init(void)
{

  hspi3.Instance = SPI3;
  hspi3.Init.Mode = SPI_MODE_MASTER;
  hspi3.Init.Direction = SPI_DIRECTION_2LINES;
  hspi3.Init.DataSize = SPI_DATASIZE_16BIT;
  hspi3.Init.CLKPolarity = SPI_POLARITY_LOW;
  hspi3.Init.CLKPhase = SPI_PHASE_1EDGE;
  hspi3.Init.NSS = SPI_NSS_SOFT;
  hspi3.Init.BaudRatePrescaler = SPI_BAUDRATEPRESCALER_8;
  hspi3.Init.FirstBit = SPI_FIRSTBIT_MSB;
  hspi3.Init.TIMode = SPI_TIMODE_DISABLED;
  hspi3.Init.CRCCalculation = SPI_CRCCALCULATION_DISABLED;
  hspi3.Init.CRCPolynomial = 10;
  HAL_SPI_Init(&hspi3);

}

/* TIM4 init function */
void MX_TIM4_Init(void)
{

  TIM_MasterConfigTypeDef sMasterConfig;
  TIM_OC_InitTypeDef sConfigOC;

  htim4.Instance = TIM4;
  htim4.Init.Prescaler = 0;
  htim4.Init.CounterMode = TIM_COUNTERMODE_UP;
  htim4.Init.Period = 5555;
  htim4.Init.ClockDivision = TIM_CLOCKDIVISION_DIV1;
  HAL_TIM_PWM_Init(&htim4);

  sMasterConfig.MasterOutputTrigger = TIM_TRGO_RESET;
  sMasterConfig.MasterSlaveMode = TIM_MASTERSLAVEMODE_DISABLE;
  HAL_TIMEx_MasterConfigSynchronization(&htim4, &sMasterConfig);

  sConfigOC.OCMode = TIM_OCMODE_PWM1;
  sConfigOC.Pulse = 1388;
  sConfigOC.OCPolarity = TIM_OCPOLARITY_HIGH;
  sConfigOC.OCFastMode = TIM_OCFAST_ENABLE;
  HAL_TIM_PWM_ConfigChannel(&htim4, &sConfigOC, TIM_CHANNEL_2);

}

void MX_DMA_Init(void)
{
  /* DMA controller clock enable */
  __DMA2_CLK_ENABLE();

  /* DMA interrupt init */
  HAL_NVIC_SetPriority(DMA2_Stream0_IRQn, 0, 0);
  HAL_NVIC_EnableIRQ(DMA2_Stream0_IRQn);

}

/** Configure pins as
        * Analog
        * Input
        * Output
        * EVENT_OUT
        * EXTI
     PF0   ------> FMC_A0
     PF1   ------> FMC_A1
     PF2   ------> FMC_A2
     PF3   ------> FMC_A3
     PF4   ------> FMC_A4
     PF5   ------> FMC_A5
     PF7   ------> SPI5_SCK
     PF8   ------> SPI5_MISO
     PF9   ------> SPI5_MOSI
     PC0   ------> FMC_SDNWE
     PA3   ------> LTDC_B5
     PA4   ------> LTDC_VSYNC
     PA6   ------> LTDC_G2
     PB0   ------> LTDC_R3
     PB1   ------> LTDC_R6
     PF11   ------> FMC_SDNRAS
     PF12   ------> FMC_A6
     PF13   ------> FMC_A7
     PF14   ------> FMC_A8
     PF15   ------> FMC_A9
     PG0   ------> FMC_A10
     PG1   ------> FMC_A11
     PE7   ------> FMC_D4_DA4
     PE8   ------> FMC_D5_DA5
     PE9   ------> FMC_D6_DA6
     PE10   ------> FMC_D7_DA7
     PE11   ------> FMC_D8_DA8
     PE12   ------> FMC_D9_DA9
     PE13   ------> FMC_D10_DA10
     PE14   ------> FMC_D11_DA11
     PE15   ------> FMC_D12_DA12
     PB10   ------> LTDC_G4
     PB11   ------> LTDC_G5
     PB12   ------> USB_OTG_HS_ID
     PB13   ------> USB_OTG_HS_VBUS
     PB14   ------> USB_OTG_HS_DM
     PB15   ------> USB_OTG_HS_DP
     PD8   ------> FMC_D13_DA13
     PD9   ------> FMC_D14_DA14
     PD10   ------> FMC_D15_DA15
     PD14   ------> FMC_D0_DA0
     PD15   ------> FMC_D1_DA1
     PG4   ------> FMC_A14_BA0
     PG5   ------> FMC_A15_BA1
     PG6   ------> LTDC_R7
     PG7   ------> LTDC_CLK
     PG8   ------> FMC_SDCLK
     PC6   ------> LTDC_HSYNC
     PC7   ------> LTDC_G6
     PC9   ------> I2C3_SDA
     PA8   ------> I2C3_SCL
     PA11   ------> LTDC_R4
     PA12   ------> LTDC_R5
     PC10   ------> LTDC_R2
     PD0   ------> FMC_D2_DA2
     PD1   ------> FMC_D3_DA3
     PD3   ------> LTDC_G7
     PD6   ------> LTDC_B2
     PG10   ------> LTDC_G3
     PG11   ------> LTDC_B3
     PG12   ------> LTDC_B4
     PG15   ------> FMC_SDNCAS
     PB5   ------> FMC_SDCKE1
     PB6   ------> FMC_SDNE1
     PB8   ------> LTDC_B6
     PB9   ------> LTDC_B7
     PE0   ------> FMC_NBL0
     PE1   ------> FMC_NBL1
*/
void MX_GPIO_Init(void)
{

  GPIO_InitTypeDef GPIO_InitStruct;

  /* GPIO Ports Clock Enable */
  __GPIOC_CLK_ENABLE();
  __GPIOF_CLK_ENABLE();
  __GPIOH_CLK_ENABLE();
  __GPIOA_CLK_ENABLE();
  __GPIOB_CLK_ENABLE();
  __GPIOG_CLK_ENABLE();
  __GPIOE_CLK_ENABLE();
  __GPIOD_CLK_ENABLE();

  /*Configure GPIO pins : PF0 PF1 PF2 PF3
                           PF4 PF5 PF11 PF12
                           PF13 PF14 PF15 */
  GPIO_InitStruct.Pin = GPIO_PIN_0|GPIO_PIN_1|GPIO_PIN_2|GPIO_PIN_3
                          |GPIO_PIN_4|GPIO_PIN_5|GPIO_PIN_11|GPIO_PIN_12
                          |GPIO_PIN_13|GPIO_PIN_14|GPIO_PIN_15;
  GPIO_InitStruct.Mode = GPIO_MODE_AF_PP;
  GPIO_InitStruct.Pull = GPIO_NOPULL;
  GPIO_InitStruct.Speed = GPIO_SPEED_HIGH;
  GPIO_InitStruct.Alternate = GPIO_AF12_FMC;
  HAL_GPIO_Init(GPIOF, &GPIO_InitStruct);

  /*Configure GPIO pins : PF7 PF8 PF9 */
  GPIO_InitStruct.Pin = GPIO_PIN_7|GPIO_PIN_8|GPIO_PIN_9;
  GPIO_InitStruct.Mode = GPIO_MODE_AF_PP;
  GPIO_InitStruct.Pull = GPIO_NOPULL;
  GPIO_InitStruct.Speed = GPIO_SPEED_LOW;
  GPIO_InitStruct.Alternate = GPIO_AF5_SPI5;
  HAL_GPIO_Init(GPIOF, &GPIO_InitStruct);

  /*Configure GPIO pin : PC0 */
  GPIO_InitStruct.Pin = GPIO_PIN_0;
  GPIO_InitStruct.Mode = GPIO_MODE_AF_PP;
  GPIO_InitStruct.Pull = GPIO_NOPULL;
  GPIO_InitStruct.Speed = GPIO_SPEED_HIGH;
  GPIO_InitStruct.Alternate = GPIO_AF12_FMC;
  HAL_GPIO_Init(GPIOC, &GPIO_InitStruct);

  /*Configure GPIO pins : PC1 PC2 PC4 PC11 */
  GPIO_InitStruct.Pin = GPIO_PIN_1|GPIO_PIN_2|GPIO_PIN_4|GPIO_PIN_11;
  GPIO_InitStruct.Mode = GPIO_MODE_OUTPUT_PP;
  GPIO_InitStruct.Pull = GPIO_NOPULL;
  GPIO_InitStruct.Speed = GPIO_SPEED_LOW;
  HAL_GPIO_Init(GPIOC, &GPIO_InitStruct);

  /*Configure GPIO pins : PA0 PA1 PA2 PA15 */
  GPIO_InitStruct.Pin = GPIO_PIN_0|GPIO_PIN_1|GPIO_PIN_2|GPIO_PIN_15;
  GPIO_InitStruct.Mode = GPIO_MODE_EVT_RISING;
  GPIO_InitStruct.Pull = GPIO_NOPULL;
  HAL_GPIO_Init(GPIOA, &GPIO_InitStruct);

  /*Configure GPIO pins : PA3 PA4 PA6 PA11
                           PA12 */
  GPIO_InitStruct.Pin = GPIO_PIN_3|GPIO_PIN_4|GPIO_PIN_6|GPIO_PIN_11
                          |GPIO_PIN_12;
  GPIO_InitStruct.Mode = GPIO_MODE_AF_PP;
  GPIO_InitStruct.Pull = GPIO_NOPULL;
  GPIO_InitStruct.Speed = GPIO_SPEED_LOW;
  GPIO_InitStruct.Alternate = GPIO_AF14_LTDC;
  HAL_GPIO_Init(GPIOA, &GPIO_InitStruct);

  /*Configure GPIO pin : PA7 */
  GPIO_InitStruct.Pin = GPIO_PIN_7;
  GPIO_InitStruct.Mode = GPIO_MODE_OUTPUT_PP;
  GPIO_InitStruct.Pull = GPIO_NOPULL;
  GPIO_InitStruct.Speed = GPIO_SPEED_LOW;
  HAL_GPIO_Init(GPIOA, &GPIO_InitStruct);

  /*Configure GPIO pin : PC5 */
  GPIO_InitStruct.Pin = GPIO_PIN_5;
  GPIO_InitStruct.Mode = GPIO_MODE_EVT_RISING;
  GPIO_InitStruct.Pull = GPIO_NOPULL;
  HAL_GPIO_Init(GPIOC, &GPIO_InitStruct);

  /*Configure GPIO pins : PB0 PB1 */
  GPIO_InitStruct.Pin = GPIO_PIN_0|GPIO_PIN_1;
  GPIO_InitStruct.Mode = GPIO_MODE_AF_PP;
  GPIO_InitStruct.Pull = GPIO_NOPULL;
  GPIO_InitStruct.Speed = GPIO_SPEED_LOW;
  GPIO_InitStruct.Alternate = GPIO_AF9_LTDC;
  HAL_GPIO_Init(GPIOB, &GPIO_InitStruct);

  /*Configure GPIO pin : PB2 */
  GPIO_InitStruct.Pin = GPIO_PIN_2;
  GPIO_InitStruct.Mode = GPIO_MODE_INPUT;
  GPIO_InitStruct.Pull = GPIO_NOPULL;
  HAL_GPIO_Init(GPIOB, &GPIO_InitStruct);

  /*Configure GPIO pins : PG0 PG1 PG4 PG5
                           PG8 PG15 */
  GPIO_InitStruct.Pin = GPIO_PIN_0|GPIO_PIN_1|GPIO_PIN_4|GPIO_PIN_5
                          |GPIO_PIN_8|GPIO_PIN_15;
  GPIO_InitStruct.Mode = GPIO_MODE_AF_PP;
  GPIO_InitStruct.Pull = GPIO_NOPULL;
  GPIO_InitStruct.Speed = GPIO_SPEED_HIGH;
  GPIO_InitStruct.Alternate = GPIO_AF12_FMC;
  HAL_GPIO_Init(GPIOG, &GPIO_InitStruct);

  /*Configure GPIO pins : PE7 PE8 PE9 PE10
                           PE11 PE12 PE13 PE14
                           PE15 PE0 PE1 */
  GPIO_InitStruct.Pin = GPIO_PIN_7|GPIO_PIN_8|GPIO_PIN_9|GPIO_PIN_10
                          |GPIO_PIN_11|GPIO_PIN_12|GPIO_PIN_13|GPIO_PIN_14
                          |GPIO_PIN_15|GPIO_PIN_0|GPIO_PIN_1;
  GPIO_InitStruct.Mode = GPIO_MODE_AF_PP;
  GPIO_InitStruct.Pull = GPIO_NOPULL;
  GPIO_InitStruct.Speed = GPIO_SPEED_HIGH;
  GPIO_InitStruct.Alternate = GPIO_AF12_FMC;
  HAL_GPIO_Init(GPIOE, &GPIO_InitStruct);

  /*Configure GPIO pins : PB10 PB11 PB8 PB9 */
  GPIO_InitStruct.Pin = GPIO_PIN_10|GPIO_PIN_11|GPIO_PIN_8|GPIO_PIN_9;
  GPIO_InitStruct.Mode = GPIO_MODE_AF_PP;
  GPIO_InitStruct.Pull = GPIO_NOPULL;
  GPIO_InitStruct.Speed = GPIO_SPEED_LOW;
  GPIO_InitStruct.Alternate = GPIO_AF14_LTDC;
  HAL_GPIO_Init(GPIOB, &GPIO_InitStruct);

  /*Configure GPIO pins : PB12 PB14 PB15 */
  GPIO_InitStruct.Pin = GPIO_PIN_12|GPIO_PIN_14|GPIO_PIN_15;
  GPIO_InitStruct.Mode = GPIO_MODE_AF_PP;
  GPIO_InitStruct.Pull = GPIO_NOPULL;
  GPIO_InitStruct.Speed = GPIO_SPEED_LOW;
  GPIO_InitStruct.Alternate = GPIO_AF12_OTG_HS_FS;
  HAL_GPIO_Init(GPIOB, &GPIO_InitStruct);

  /*Configure GPIO pin : PB13 */
  GPIO_InitStruct.Pin = GPIO_PIN_13;
  GPIO_InitStruct.Mode = GPIO_MODE_INPUT;
  GPIO_InitStruct.Pull = GPIO_NOPULL;
  HAL_GPIO_Init(GPIOB, &GPIO_InitStruct);

  /*Configure GPIO pins : PD8 PD9 PD10 PD14
                           PD15 PD0 PD1 */
  GPIO_InitStruct.Pin = GPIO_PIN_8|GPIO_PIN_9|GPIO_PIN_10|GPIO_PIN_14
                          |GPIO_PIN_15|GPIO_PIN_0|GPIO_PIN_1;
  GPIO_InitStruct.Mode = GPIO_MODE_AF_PP;
  GPIO_InitStruct.Pull = GPIO_NOPULL;
  GPIO_InitStruct.Speed = GPIO_SPEED_HIGH;
  GPIO_InitStruct.Alternate = GPIO_AF12_FMC;
  HAL_GPIO_Init(GPIOD, &GPIO_InitStruct);

  /*Configure GPIO pin : PD11 */
  GPIO_InitStruct.Pin = GPIO_PIN_11;
  GPIO_InitStruct.Mode = GPIO_MODE_INPUT;
  GPIO_InitStruct.Pull = GPIO_NOPULL;
  HAL_GPIO_Init(GPIOD, &GPIO_InitStruct);

  /*Configure GPIO pins : PD12 PD13 */
  GPIO_InitStruct.Pin = GPIO_PIN_12|GPIO_PIN_13;
  GPIO_InitStruct.Mode = GPIO_MODE_OUTPUT_PP;
  GPIO_InitStruct.Pull = GPIO_NOPULL;
  GPIO_InitStruct.Speed = GPIO_SPEED_LOW;
  HAL_GPIO_Init(GPIOD, &GPIO_InitStruct);

  /*Configure GPIO pins : PG6 PG7 PG11 */
  GPIO_InitStruct.Pin = GPIO_PIN_6|GPIO_PIN_7|GPIO_PIN_11;
  GPIO_InitStruct.Mode = GPIO_MODE_AF_PP;
  GPIO_InitStruct.Pull = GPIO_NOPULL;
  GPIO_InitStruct.Speed = GPIO_SPEED_LOW;
  GPIO_InitStruct.Alternate = GPIO_AF14_LTDC;
  HAL_GPIO_Init(GPIOG, &GPIO_InitStruct);

  /*Configure GPIO pins : PC6 PC7 PC10 */
  GPIO_InitStruct.Pin = GPIO_PIN_6|GPIO_PIN_7|GPIO_PIN_10;
  GPIO_InitStruct.Mode = GPIO_MODE_AF_PP;
  GPIO_InitStruct.Pull = GPIO_NOPULL;
  GPIO_InitStruct.Speed = GPIO_SPEED_LOW;
  GPIO_InitStruct.Alternate = GPIO_AF14_LTDC;
  HAL_GPIO_Init(GPIOC, &GPIO_InitStruct);

  /*Configure GPIO pin : PC9 */
  GPIO_InitStruct.Pin = GPIO_PIN_9;
  GPIO_InitStruct.Mode = GPIO_MODE_AF_OD;
  GPIO_InitStruct.Pull = GPIO_PULLUP;
  GPIO_InitStruct.Speed = GPIO_SPEED_LOW;
  GPIO_InitStruct.Alternate = GPIO_AF4_I2C3;
  HAL_GPIO_Init(GPIOC, &GPIO_InitStruct);

  /*Configure GPIO pin : PA8 */
  GPIO_InitStruct.Pin = GPIO_PIN_8;
  GPIO_InitStruct.Mode = GPIO_MODE_AF_OD;
  GPIO_InitStruct.Pull = GPIO_PULLUP;
  GPIO_InitStruct.Speed = GPIO_SPEED_LOW;
  GPIO_InitStruct.Alternate = GPIO_AF4_I2C3;
  HAL_GPIO_Init(GPIOA, &GPIO_InitStruct);

  /*Configure GPIO pins : PD3 PD6 */
  GPIO_InitStruct.Pin = GPIO_PIN_3|GPIO_PIN_6;
  GPIO_InitStruct.Mode = GPIO_MODE_AF_PP;
  GPIO_InitStruct.Pull = GPIO_NOPULL;
  GPIO_InitStruct.Speed = GPIO_SPEED_LOW;
  GPIO_InitStruct.Alternate = GPIO_AF14_LTDC;
  HAL_GPIO_Init(GPIOD, &GPIO_InitStruct);

  /*Configure GPIO pins : PG10 PG12 */
  GPIO_InitStruct.Pin = GPIO_PIN_10|GPIO_PIN_12;
  GPIO_InitStruct.Mode = GPIO_MODE_AF_PP;
  GPIO_InitStruct.Pull = GPIO_NOPULL;
  GPIO_InitStruct.Speed = GPIO_SPEED_LOW;
  GPIO_InitStruct.Alternate = GPIO_AF9_LTDC;
  HAL_GPIO_Init(GPIOG, &GPIO_InitStruct);

  /*Configure GPIO pins : PG13 PG14 */
  GPIO_InitStruct.Pin = GPIO_PIN_13|GPIO_PIN_14;
  GPIO_InitStruct.Mode = GPIO_MODE_OUTPUT_PP;
  GPIO_InitStruct.Pull = GPIO_NOPULL;
  GPIO_InitStruct.Speed = GPIO_SPEED_LOW;
  HAL_GPIO_Init(GPIOG, &GPIO_InitStruct);

  /*Configure GPIO pins : PB5 PB6 */
  GPIO_InitStruct.Pin = GPIO_PIN_5|GPIO_PIN_6;
  GPIO_InitStruct.Mode = GPIO_MODE_AF_PP;
  GPIO_InitStruct.Pull = GPIO_NOPULL;
  GPIO_InitStruct.Speed = GPIO_SPEED_HIGH;
  GPIO_InitStruct.Alternate = GPIO_AF12_FMC;
  HAL_GPIO_Init(GPIOB, &GPIO_InitStruct);

}

/* USER CODE BEGIN 4 */
static inline int32_t map(int32_t x, int32_t in_min, int32_t in_max, int32_t out_min, int32_t out_max)
{
	return (x - in_min) * (out_max - out_min) / (in_max - in_min) + out_min;
}

void HAL_ADC_ConvCpltCallback(ADC_HandleTypeDef *hadc)
{
	/* Change the PWM */
	static TIM_OC_InitTypeDef sConfigOC;
	static uint32_t p = INI_PULSE_LENGTH;
	uint32_t duty_cycle = map(adc_dma_val, 0, MAX_ADC_VAL, 0, 100);
	p = duty_cycle?((TIM_Period + 1) * duty_cycle) / 100 - 1 : 0;
	HAL_TIM_PWM_Stop(&htim4, TIM_CHANNEL_2);
	sConfigOC.OCMode = TIM_OCMODE_PWM1;
	sConfigOC.Pulse = p;
	sConfigOC.OCPolarity = TIM_OCPOLARITY_LOW;
	sConfigOC.OCFastMode = TIM_OCFAST_DISABLE;
	HAL_TIM_PWM_ConfigChannel(&htim4, &sConfigOC, TIM_CHANNEL_2);
	HAL_TIM_PWM_Start(&htim4, TIM_CHANNEL_2);
}
/* USER CODE END 4 */

/************************ (C) COPYRIGHT STMicroelectronics *****END OF FILE****/
